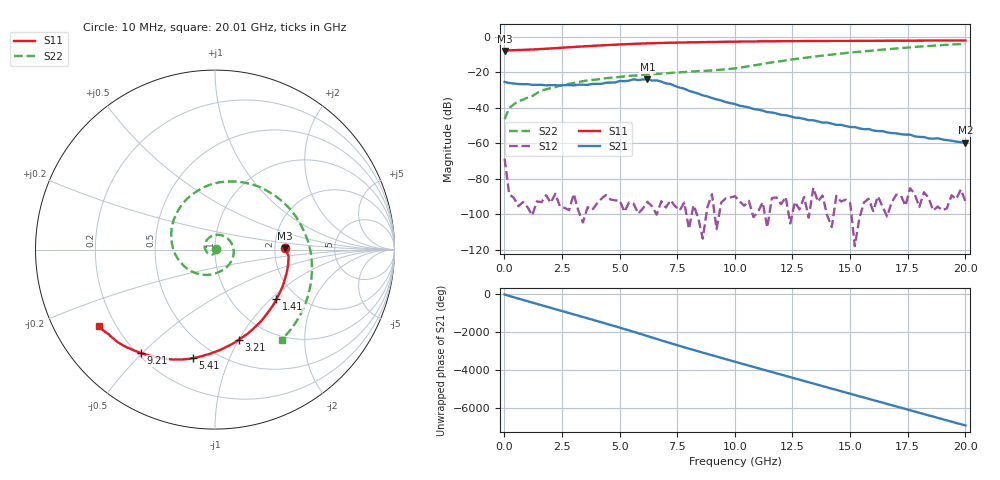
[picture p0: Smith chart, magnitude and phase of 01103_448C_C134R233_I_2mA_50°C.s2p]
!;Filter: kein Filter
!auto
!3/21/2019 9:26:52 AM
!3/21/2019 9:27:07 AM
!SP-Measurements Prober G4
!SP-Measurements Prober G4
!01103_448C
!134
!233
!12
!50
!-20
!0.00199954
!1.75
!0.22129449
!0.22129449
# Hz S  RI  R 50
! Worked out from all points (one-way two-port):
!   101 points, 10 MHz to 20.01 GHz, reference 50 ohm
!   highest |S21| = -23.93 dB at 6.21 GHz (marker M1); lowest = -59.6 dB at 20.01 GHz (marker M2)
!   lowest |S11| = -8.1 dB at 10 MHz (marker M3), VSWR 2.29, Z = 114 + j2.34 ohm
!   |S11| at or under -10 dB: nowhere
!   |S22| runs from -46.5 to -4.1 dB; largest |S21 - S12| = 0.064
!   S11 on the Smith chart (normalised r, x): 10 MHz: 2.29, +0.05; 1.41 GHz: 1.58, -1.09; 3.21 GHz: 0.73, -1.00; 5.41 GHz: 0.38, -0.74; 9.21 GHz: 0.21, -0.50; 20.01 GHz: 0.14, -0.29
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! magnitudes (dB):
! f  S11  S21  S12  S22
! 10 MHz  -8.1  -25.5  -68.6  -46.5
! 210 MHz  -7.7  -26.1  -88.8  -40.1
! 610 MHz  -7.5  -26.6  -95.4  -36.4
! 1.21 GHz  -7.3  -27.1  -100.5  -33.4
! 1.41 GHz  -7.1  -27.1  -92.6  -31.8
! 1.81 GHz  -6.8  -27.4  -89.2  -29.6
! 3.21 GHz  -5.7  -27.1  -97.8  -25.6
! 3.41 GHz  -5.5  -27.0  -104.6  -25.1
! 4.21 GHz  -4.9  -26.6  -91.2  -23.7
! 5.41 GHz  -4.2  -24.8  -93.2  -22.1
! 5.61 GHz  -4.1  -24.0  -94.0  -21.9
! 5.81 GHz  -4.0  -24.5  -99.5  -21.9
! 6.21 GHz  -3.8  -23.9  -92.9  -21.3
! 6.81 GHz  -3.6  -25.3  -92.6  -20.8
! 9.21 GHz  -3.0  -35.3  -108.3  -18.8
! 10.01 GHz  -2.8  -37.9  -89.8  -17.9
! 11.41 GHz  -2.6  -42.5  -107.3  -14.9
! 13.41 GHz  -2.5  -47.0  -85.0  -11.3
! 14.41 GHz  -2.4  -49.7  -89.6  -9.8
! 16.81 GHz  -2.3  -54.2  -93.2  -6.9
! 18.81 GHz  -2.2  -57.2  -95.5  -4.9
! 20.01 GHz  -2.2  -59.6  -92.6  -4.1
